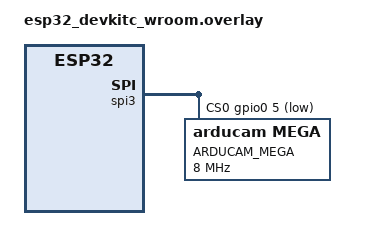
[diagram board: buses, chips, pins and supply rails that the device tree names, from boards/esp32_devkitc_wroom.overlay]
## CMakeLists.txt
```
cmake_minimum_required(VERSION 3.20.0)
find_package(Zephyr REQUIRED HINTS $ENV{ZEPHYR_BASE})
project(arducam_mega_e2e_test)

FILE(GLOB app_sources src/*.c)
target_sources(app PRIVATE ${app_sources})

target_include_directories(app PRIVATE
  ${CMAKE_CURRENT_SOURCE_DIR}/../../include
)
```

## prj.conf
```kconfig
# E2E test project configuration for Arducam MEGA driver
#
# This test suite is intended to run on real hardware with a physical
# Arducam MEGA camera module connected over SPI.  Select a board overlay
# from tests/e2e/boards/ that matches your hardware.

CONFIG_ZTEST=y
CONFIG_ZTEST_NEW_API=y

# Video subsystem
CONFIG_VIDEO=y

# SPI
CONFIG_SPI=y

# Driver under test
CONFIG_VIDEO_ARDUCAM_MEGA=y

# Allow video_buffer_alloc() to use the kernel heap
CONFIG_HEAP_MEM_POOL_SIZE=131072

# Logging
CONFIG_LOG=y
CONFIG_VIDEO_LOG_LEVEL_DBG=y

# Give the tests enough stack space
CONFIG_ZTEST_STACK_SIZE=4096
CONFIG_MAIN_STACK_SIZE=4096
```

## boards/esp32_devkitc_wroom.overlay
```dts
/*
 * Board overlay for ESP32-DevKitC (WROOM).
 *
 * Arducam MEGA wiring:
 *   MOSI  -> GPIO23 (VSPI MOSI)
 *   MISO  -> GPIO19 (VSPI MISO)
 *   SCK   -> GPIO18 (VSPI CLK)
 *   CS    -> GPIO5
 *   VCC   -> 3.3 V
 *   GND   -> GND
 */

&spi3 {
	/* VSPI on ESP32 */
	status = "okay";
	#address-cells = <1>;
	#size-cells    = <0>;

	cs-gpios = <&gpio0 5 GPIO_ACTIVE_LOW>;

	arducam_mega_cam: camera@0 {
		compatible = "arducam,mega";
		reg = <0>;
		spi-max-frequency = <8000000>;
		label = "ARDUCAM_MEGA";
	};
};
```

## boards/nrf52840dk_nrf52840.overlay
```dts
/*
 * Board overlay for Nordic nRF52840 DK.
 *
 * Arducam MEGA wiring:
 *   MOSI  -> P0.13 (SPI3_MOSI / Arduino D11)
 *   MISO  -> P0.12 (SPI3_MISO / Arduino D12)
 *   SCK   -> P0.14 (SPI3_SCK  / Arduino D13)
 *   CS    -> P0.15 (Arduino D10)
 *   VCC   -> VDD (3.3 V)
 *   GND   -> GND
 */

&spi3 {
	compatible = "nordic,nrf-spim";
	status = "okay";
	cs-gpios = <&gpio0 15 GPIO_ACTIVE_LOW>;
	mosi-pin = <13>;
	miso-pin = <12>;
	sck-pin  = <14>;

	arducam_mega_cam: camera@0 {
		compatible = "arducam,mega";
		reg = <0>;
		spi-max-frequency = <8000000>;
		label = "ARDUCAM_MEGA";
	};
};
```

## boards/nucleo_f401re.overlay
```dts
/*
 * Board overlay for STM32 NUCLEO-F401RE.
 *
 * Arducam MEGA wiring:
 *   MOSI  -> PA7  (SPI1_MOSI)
 *   MISO  -> PA6  (SPI1_MISO)
 *   SCK   -> PA5  (SPI1_SCK)
 *   CS    -> PA4
 *   VCC   -> 3.3 V
 *   GND   -> GND
 */

&spi1 {
	status = "okay";
	cs-gpios = <&gpioa 4 GPIO_ACTIVE_LOW>;

	arducam_mega_cam: camera@0 {
		compatible = "arducam,mega";
		reg = <0>;
		spi-max-frequency = <8000000>;
		label = "ARDUCAM_MEGA";
	};
};
```

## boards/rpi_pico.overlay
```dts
/*
 * Board overlay for Raspberry Pi Pico (RP2040).
 *
 * Arducam MEGA wiring:
 *   MOSI  -> GP19 (SPI0_TX)
 *   MISO  -> GP16 (SPI0_RX)
 *   SCK   -> GP18 (SPI0_SCK)
 *   CS    -> GP17
 *   VCC   -> 3.3 V
 *   GND   -> GND
 */

&spi0 {
	status = "okay";
	cs-gpios = <&gpio0 17 GPIO_ACTIVE_LOW>;

	arducam_mega_cam: camera@0 {
		compatible = "arducam,mega";
		reg = <0>;
		spi-max-frequency = <8000000>;
		label = "ARDUCAM_MEGA";
	};
};
```

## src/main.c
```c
/*
 * Copyright (c) 2024 Arducam MEGA Zephyr Driver Contributors
 * SPDX-License-Identifier: Apache-2.0
 *
 * End-to-end tests for the Arducam MEGA Zephyr driver.
 *
 * These tests require a physical Arducam MEGA camera module connected
 * to the target board via SPI.  Select the appropriate board overlay
 * from tests/e2e/boards/ when building.
 *
 * Test suites:
 *   - init          Driver initialisation and device presence
 *   - capabilities  video_get_caps() returns valid capabilities
 *   - format_set    video_set_format() / video_get_format() round-trip
 *   - capture_jpeg  Full JPEG frame capture flow
 *   - capture_rgb   Full RGB565 frame capture flow
 *   - streaming     Repeated frame capture in streaming mode
 *   - controls      Camera control set/get (brightness, WB, …)
 */

#include <zephyr/ztest.h>
#include <zephyr/drivers/video.h>
#include <zephyr/kernel.h>
#include <zephyr/logging/log.h>

LOG_MODULE_REGISTER(arducam_e2e, LOG_LEVEL_DBG);

/* Obtain the camera device from the devicetree.  The board overlay must
 * define a node with compatible = "arducam,mega". */
#define CAM_NODE DT_NODELABEL(arducam_mega_cam)

/* Minimum expected JPEG header magic bytes */
#define JPEG_SOI_BYTE0 0xFF
#define JPEG_SOI_BYTE1 0xD8

/* ------------------------------------------------------------------ *
 * Fixture – shared camera device pointer
 * ------------------------------------------------------------------ */

struct e2e_fixture {
	const struct device *cam;
};

static void *e2e_setup(void)
{
	static struct e2e_fixture fixture;

	fixture.cam = DEVICE_DT_GET(CAM_NODE);
	return &fixture;
}

/* ------------------------------------------------------------------ *
 * Suite: init
 * ------------------------------------------------------------------ */

ZTEST_SUITE(init, NULL, e2e_setup, NULL, NULL, NULL);

ZTEST_F(init, test_device_is_ready)
{
	zassert_not_null(fixture->cam, "Camera device pointer is NULL");
	zassert_true(device_is_ready(fixture->cam),
		     "Camera device is not ready – check SPI wiring and DTS");
}

/* ------------------------------------------------------------------ *
 * Suite: capabilities
 * ------------------------------------------------------------------ */

ZTEST_SUITE(capabilities, NULL, e2e_setup, NULL, NULL, NULL);

ZTEST_F(capabilities, test_get_caps_returns_formats)
{
	struct video_caps caps;
	int ret = video_get_caps(fixture->cam, VIDEO_EP_OUT, &caps);

	zassert_ok(ret, "video_get_caps failed: %d", ret);
	zassert_not_null(caps.format_caps,
			 "format_caps list is NULL");
	/* Expect at least JPEG, RGB565, and YUV422 */
	int fmt_count = 0;

	for (int i = 0; caps.format_caps[i].pixelformat != 0; i++) {
		fmt_count++;
	}
	zassert_true(fmt_count >= 3,
		     "Expected at least 3 format caps, got %d", fmt_count);
}

ZTEST_F(capabilities, test_min_vbuf_count_is_one)
{
	struct video_caps caps;

	zassert_ok(video_get_caps(fixture->cam, VIDEO_EP_OUT, &caps), "");
	zassert_equal(caps.min_vbuf_count, 1,
		      "min_vbuf_count should be 1, got %u",
		      caps.min_vbuf_count);
}

ZTEST_F(capabilities, test_invalid_endpoint_returns_error)
{
	struct video_caps caps;
	int ret = video_get_caps(fixture->cam, VIDEO_EP_IN, &caps);

	zassert_not_equal(ret, 0,
			  "Expected error for VIDEO_EP_IN on a source device");
}

/* ------------------------------------------------------------------ *
 * Suite: format_set
 * ------------------------------------------------------------------ */

ZTEST_SUITE(format_set, NULL, e2e_setup, NULL, NULL, NULL);

ZTEST_F(format_set, test_set_jpeg_qvga)
{
	struct video_format fmt = {
		.pixelformat = VIDEO_PIX_FMT_JPEG,
		.width  = 320,
		.height = 240,
	};
	int ret = video_set_format(fixture->cam, VIDEO_EP_OUT, &fmt);

	zassert_ok(ret, "video_set_format JPEG QVGA failed: %d", ret);
	zassert_equal(fmt.width,  320, "width after set");
	zassert_equal(fmt.height, 240, "height after set");
}

ZTEST_F(format_set, test_set_rgb565_vga)
{
	struct video_format fmt = {
		.pixelformat = VIDEO_PIX_FMT_RGB565,
		.width  = 640,
		.height = 480,
	};
	int ret = video_set_format(fixture->cam, VIDEO_EP_OUT, &fmt);

	zassert_ok(ret, "video_set_format RGB565 VGA failed: %d", ret);
	zassert_equal(fmt.width,  640, "width");
	zassert_equal(fmt.height, 480, "height");
	zassert_equal(fmt.pitch,  1280, "RGB565 stride should be 2*width");
}

ZTEST_F(format_set, test_set_yuyv_vga)
{
	struct video_format fmt = {
		.pixelformat = VIDEO_PIX_FMT_YUYV,
		.width  = 640,
		.height = 480,
	};
	int ret = video_set_format(fixture->cam, VIDEO_EP_OUT, &fmt);

	zassert_ok(ret, "video_set_format YUYV VGA failed: %d", ret);
	zassert_equal(fmt.pitch, 1280, "YUYV stride");
}

ZTEST_F(format_set, test_get_format_matches_set)
{
	struct video_format set_fmt = {
		.pixelformat = VIDEO_PIX_FMT_JPEG,
		.width  = 1280,
		.height = 720,
	};
	struct video_format get_fmt;

	zassert_ok(video_set_format(fixture->cam, VIDEO_EP_OUT, &set_fmt), "");
	zassert_ok(video_get_format(fixture->cam, VIDEO_EP_OUT, &get_fmt), "");

	zassert_equal(get_fmt.pixelformat, VIDEO_PIX_FMT_JPEG, "pixelformat");
	zassert_equal(get_fmt.width,  set_fmt.width,  "width");
	zassert_equal(get_fmt.height, set_fmt.height, "height");
}

ZTEST_F(format_set, test_unsupported_format_returns_einval)
{
	struct video_format fmt = {
		.pixelformat = 0xDEADBEEF, /* invalid */
		.width  = 320,
		.height = 240,
	};
	int ret = video_set_format(fixture->cam, VIDEO_EP_OUT, &fmt);

	zassert_equal(ret, -EINVAL, "Expected -EINVAL for bad pixelformat");
}

/* ------------------------------------------------------------------ *
 * Suite: capture_jpeg – single JPEG frame
 * ------------------------------------------------------------------ */

#define JPEG_BUF_SIZE (320 * 240 * 2) /* worst case for QVGA JPEG */

ZTEST_SUITE(capture_jpeg, NULL, e2e_setup, NULL, NULL, NULL);

ZTEST_F(capture_jpeg, test_capture_single_frame)
{
	/* Configure JPEG QVGA */
	struct video_format fmt = {
		.pixelformat = VIDEO_PIX_FMT_JPEG,
		.width  = 320,
		.height = 240,
	};
	zassert_ok(video_set_format(fixture->cam, VIDEO_EP_OUT, &fmt), "");

	/* Allocate a buffer */
	struct video_buffer *vbuf = video_buffer_alloc(JPEG_BUF_SIZE);

	zassert_not_null(vbuf, "Failed to allocate video buffer");

	/* Enqueue, start stream, dequeue */
	zassert_ok(video_enqueue(fixture->cam, VIDEO_EP_OUT, vbuf), "");
	zassert_ok(video_stream_start(fixture->cam), "");

	struct video_buffer *filled;
	int ret = video_dequeue(fixture->cam, VIDEO_EP_OUT,
				&filled, K_SECONDS(10));

	zassert_ok(video_stream_stop(fixture->cam), "");

	zassert_ok(ret, "video_dequeue failed: %d", ret);
	zassert_not_null(filled, "Dequeued buffer is NULL");
	zassert_true(filled->bytesused > 0,
		     "Captured frame is empty (bytesused=0)");

	/* Validate JPEG SOI marker */
	uint8_t *data = (uint8_t *)filled->buffer;

	zassert_equal(data[0], JPEG_SOI_BYTE0,
		      "JPEG SOI byte 0 mismatch: 0x%02x", data[0]);
	zassert_equal(data[1], JPEG_SOI_BYTE1,
		      "JPEG SOI byte 1 mismatch: 0x%02x", data[1]);

	LOG_INF("JPEG frame size: %u bytes", filled->bytesused);

	video_buffer_release(filled);
}

ZTEST_F(capture_jpeg, test_capture_hd_frame)
{
	struct video_format fmt = {
		.pixelformat = VIDEO_PIX_FMT_JPEG,
		.width  = 1280,
		.height = 720,
	};
	zassert_ok(video_set_format(fixture->cam, VIDEO_EP_OUT, &fmt), "");

	/* For HD JPEG we may need a larger buffer */
	struct video_buffer *vbuf = video_buffer_alloc(1280 * 720);

	zassert_not_null(vbuf, "Failed to allocate HD buffer");

	zassert_ok(video_enqueue(fixture->cam, VIDEO_EP_OUT, vbuf), "");
	zassert_ok(video_stream_start(fixture->cam), "");

	struct video_buffer *filled;
	int ret = video_dequeue(fixture->cam, VIDEO_EP_OUT,
				&filled, K_SECONDS(15));

	video_stream_stop(fixture->cam);

	zassert_ok(ret, "HD dequeue failed: %d", ret);
	zassert_true(filled->bytesused > 0, "HD frame is empty");

	uint8_t *img = (uint8_t *)filled->buffer;

	zassert_equal(img[0], JPEG_SOI_BYTE0, "HD JPEG SOI[0]");
	zassert_equal(img[1], JPEG_SOI_BYTE1, "HD JPEG SOI[1]");

	LOG_INF("HD JPEG frame size: %u bytes", filled->bytesused);

	video_buffer_release(filled);
}

/* ------------------------------------------------------------------ *
 * Suite: capture_rgb – RGB565 frame
 * ------------------------------------------------------------------ */

ZTEST_SUITE(capture_rgb, NULL, e2e_setup, NULL, NULL, NULL);

ZTEST_F(capture_rgb, test_capture_rgb565_qvga)
{
	struct video_format fmt = {
		.pixelformat = VIDEO_PIX_FMT_RGB565,
		.width  = 320,
		.height = 240,
	};
	zassert_ok(video_set_format(fixture->cam, VIDEO_EP_OUT, &fmt), "");

	/* RGB565 QVGA = 320*240*2 = 153 600 bytes */
	size_t expected_size = 320 * 240 * 2;
	struct video_buffer *vbuf = video_buffer_alloc(expected_size);

	zassert_not_null(vbuf, "Failed to allocate RGB buffer");

	zassert_ok(video_enqueue(fixture->cam, VIDEO_EP_OUT, vbuf), "");
	zassert_ok(video_stream_start(fixture->cam), "");

	struct video_buffer *filled;
	int ret = video_dequeue(fixture->cam, VIDEO_EP_OUT,
				&filled, K_SECONDS(10));

	video_stream_stop(fixture->cam);

	zassert_ok(ret, "RGB565 dequeue failed: %d", ret);
	zassert_equal(filled->bytesused, expected_size,
		      "RGB565 QVGA frame size wrong: expected %zu got %u",
		      expected_size, filled->bytesused);

	video_buffer_release(filled);
}

/* ------------------------------------------------------------------ *
 * Suite: streaming – continuous multi-frame capture
 * ------------------------------------------------------------------ */

#define STREAM_FRAME_COUNT 5
#define STREAM_BUF_SIZE    (320 * 240 * 2)

ZTEST_SUITE(streaming, NULL, e2e_setup, NULL, NULL, NULL);

ZTEST_F(streaming, test_continuous_jpeg_capture)
{
	struct video_format fmt = {
		.pixelformat = VIDEO_PIX_FMT_JPEG,
		.width  = 320,
		.height = 240,
	};
	zassert_ok(video_set_format(fixture->cam, VIDEO_EP_OUT, &fmt), "");

	/* Pre-allocate buffers and enqueue them all */
	struct video_buffer *bufs[STREAM_FRAME_COUNT];

	for (int i = 0; i < STREAM_FRAME_COUNT; i++) {
		bufs[i] = video_buffer_alloc(STREAM_BUF_SIZE);
		zassert_not_null(bufs[i], "Buffer alloc failed at %d", i);
		zassert_ok(video_enqueue(fixture->cam, VIDEO_EP_OUT, bufs[i]),
			   "Enqueue failed at %d", i);
	}

	zassert_ok(video_stream_start(fixture->cam), "");

	uint32_t prev_ts = 0;
	int captured = 0;

	for (int i = 0; i < STREAM_FRAME_COUNT; i++) {
		struct video_buffer *filled;
		int ret = video_dequeue(fixture->cam, VIDEO_EP_OUT,
					&filled, K_SECONDS(10));

		if (ret != 0) {
			LOG_ERR("Dequeue %d failed: %d", i, ret);
			break;
		}

		zassert_true(filled->bytesused > 0,
			     "Frame %d is empty", i);
		zassert_true(filled->timestamp >= prev_ts,
			     "Timestamp not monotonic at frame %d", i);
		prev_ts = filled->timestamp;
		captured++;

		/* Optionally re-enqueue for the next iteration */
		/* video_enqueue(fixture->cam, VIDEO_EP_OUT, filled); */
	}

	video_stream_stop(fixture->cam);

	zassert_equal(captured, STREAM_FRAME_COUNT,
		      "Expected %d frames, got %d",
		      STREAM_FRAME_COUNT, captured);

	for (int i = 0; i < STREAM_FRAME_COUNT; i++) {
		if (bufs[i]) {
			video_buffer_release(bufs[i]);
		}
	}
}

ZTEST_F(streaming, test_stream_stop_allows_flush)
{
	struct video_format fmt = {
		.pixelformat = VIDEO_PIX_FMT_JPEG,
		.width  = 320,
		.height = 240,
	};
	zassert_ok(video_set_format(fixture->cam, VIDEO_EP_OUT, &fmt), "");

	struct video_buffer *vbuf = video_buffer_alloc(STREAM_BUF_SIZE);

	zassert_not_null(vbuf, "");

	zassert_ok(video_enqueue(fixture->cam, VIDEO_EP_OUT, vbuf), "");
	zassert_ok(video_stream_start(fixture->cam), "");
	zassert_ok(video_stream_stop(fixture->cam), "");

	/* Flush should succeed and move remaining buffers to out queue */
	zassert_ok(video_flush(fixture->cam, VIDEO_EP_OUT, true), "");

	video_buffer_release(vbuf);
}

/* ------------------------------------------------------------------ *
 * Suite: controls – camera image controls
 * ------------------------------------------------------------------ */

ZTEST_SUITE(controls, NULL, e2e_setup, NULL, NULL, NULL);

ZTEST_F(controls, test_set_brightness)
{
	uint8_t val = 0x06; /* +2 steps above default */
	int ret = video_set_ctrl(fixture->cam, VIDEO_CID_CAMERA_BRIGHTNESS,
				 &val);

	/* Accept -ENOTSUP if the control is not yet implemented */
	zassert_true(ret == 0 || ret == -ENOTSUP,
		     "Unexpected error setting brightness: %d", ret);
}

ZTEST_F(controls, test_set_white_balance)
{
	uint8_t val = 1; /* ARDUCAM_WB_SUNNY */
	int ret = video_set_ctrl(fixture->cam, VIDEO_CID_CAMERA_WHITE_BAL,
				 &val);

	zassert_true(ret == 0 || ret == -ENOTSUP,
		     "Unexpected error setting WB: %d", ret);
}

ZTEST_F(controls, test_set_invalid_control_returns_enotsup)
{
	uint8_t val = 0;
	int ret = video_set_ctrl(fixture->cam, 0xDEAD, &val);

	zassert_equal(ret, -ENOTSUP,
		      "Expected -ENOTSUP for unknown CID, got %d", ret);
}
```
